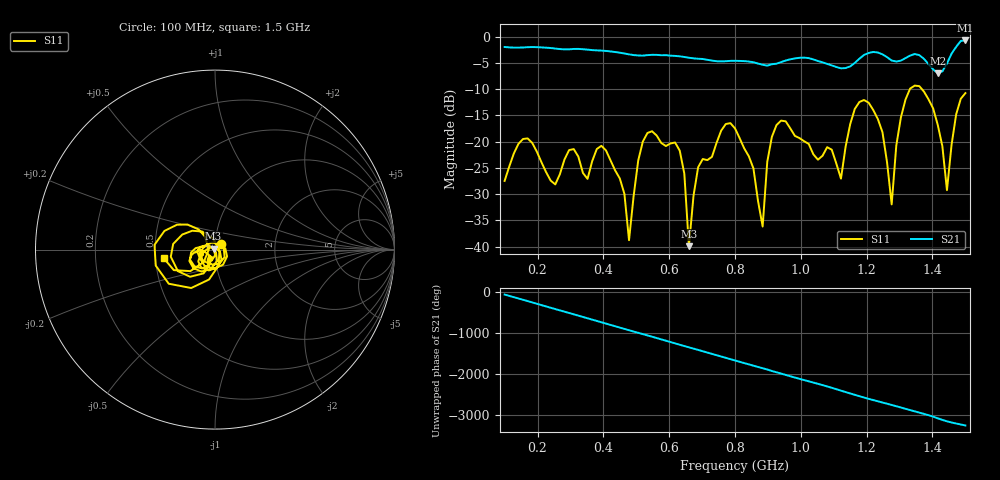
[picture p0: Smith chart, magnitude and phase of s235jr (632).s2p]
! NanoVNA-App
! Date: 2025-09-25 15:09:05
! Start: 100MHz Stop: 1,5GHz Points: 101
! S-Parameter data: F S11 S21 S12 S22
# Hz S RI R 50
!  Frequency  S11_Real  S11_Imag  S21_Real  S21_Imag  S12_Real  S12_Imag  S22_Real  S22_Imag
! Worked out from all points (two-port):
!   101 points, 100 MHz to 1.5 GHz, reference 50 ohm
!   highest |S21| = -0.72 dB at 1.5 GHz (marker M1); lowest = -7.0 dB at 1.416 GHz (marker M2)
!   |S21| within 3 dB of the highest: start of sweep to 628.5 MHz; 1.187 GHz to 1.257 GHz (70.08 MHz wide, 5.73 % of centre) (the widest 2 of 4)
!   lowest |S11| = -39.9 dB at 660 MHz (marker M3), VSWR 1.02, Z = 49.2 + j0.597 ohm
!   |S11| at or under -10 dB: start of sweep to 1.331 GHz; 1.368 GHz to end of sweep
!   S12 and S22 are empty: the file has one direction only
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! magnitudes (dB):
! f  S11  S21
! 100 MHz  -27.5  -2.0
! 170 MHz  -19.4  -2.0
! 338 MHz  -26.0  -2.4
! 408 MHz  -21.7  -2.7
! 478 MHz  -38.8  -3.4
! 520 MHz  -20.0  -3.6
! 576 MHz  -20.2  -3.5
! 632 MHz  -21.7  -3.7
! 660 MHz  -39.9  -4.0
! 688 MHz  -24.9  -4.2
! 800 MHz  -17.5  -4.6
! 884 MHz  -36.2  -5.3
! 926 MHz  -16.8  -5.1
! 1.038 GHz  -22.4  -4.3
! 1.122 GHz  -27.0  -6.0
! 1.164 GHz  -13.8  -5.0
! 1.206 GHz  -12.6  -3.1
! 1.276 GHz  -31.9  -4.5
! 1.332 GHz  -9.9  -3.6
! 1.416 GHz  -16.8  -7.0
! 1.444 GHz  -29.2  -5.1
! 1.5 GHz  -10.7  -0.7
